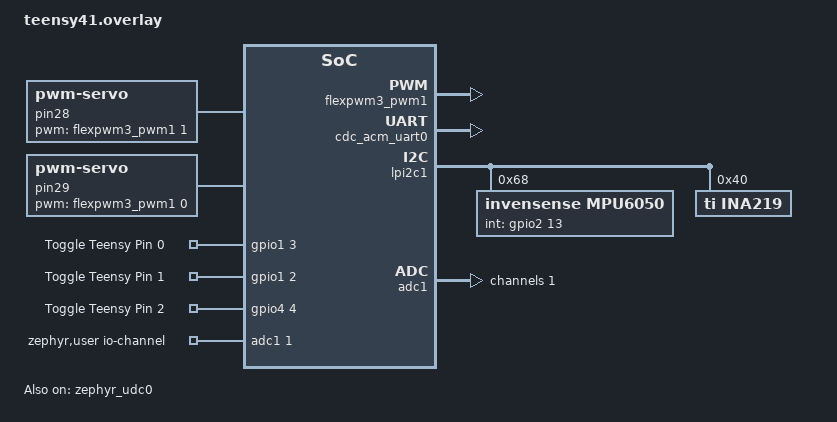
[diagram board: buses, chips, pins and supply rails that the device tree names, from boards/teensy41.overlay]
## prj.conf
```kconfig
CONFIG_PRINTK=y
CONFIG_HEAP_MEM_POOL_SIZE=256
CONFIG_ASSERT=y
CONFIG_GPIO=y

CONFIG_STDOUT_CONSOLE=y
CONFIG_PWM=y
CONFIG_ADC=y

## Sensor configs 
CONFIG_MPU6050=y
CONFIG_I2C=y
CONFIG_SENSOR=y
CONFIG_LOG=y

CONFIG_MPU6050_TRIGGER_NONE=y
CONFIG_CBPRINTF_FP_SUPPORT=y


CONFIG_USB_DEVICE_STACK=y
CONFIG_USB_DEVICE_PRODUCT="Zephyr USB console sample"
CONFIG_USB_DEVICE_PID=0x0004
CONFIG_USB_DEVICE_INITIALIZE_AT_BOOT=n

CONFIG_SERIAL=y
CONFIG_CONSOLE=y
CONFIG_UART_CONSOLE=y
CONFIG_NEWLIB_LIBC=y

#CONFIG_USB_DRIVER_LOG_LEVEL_ERR=y 
```

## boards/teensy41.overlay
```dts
/ {
	pin28: pin28 {
		compatible = "pwm-servo";
		pwms = <&flexpwm3_pwm1 1 PWM_KHZ(20) PWM_POLARITY_NORMAL>;  
		min-pulse = <PWM_NSEC(0)>; /* Does not actually affect physical min/max. Max is set by the period in the pwms phandle. These are just inits for min/max vars */
		max-pulse = <PWM_KHZ(20)>;
	};

	pin29: pin29 { 
		compatible = "pwm-servo";
		pwms = <&flexpwm3_pwm1 0 PWM_KHZ(20) PWM_POLARITY_NORMAL>;  
		min-pulse = <PWM_NSEC(0)>;
		max-pulse = <PWM_KHZ(20)>;
	};

	aliases {
		tp = &toggle_pos;
		tc = &toggle_current;
		to = &toggle_other;
	};
	
	app-gpios {	
		compatible = "gpio-keys";
		toggle_pos: toggle_pos {
			gpios = <&gpio1 3 GPIO_ACTIVE_HIGH>;
        	label = "Toggle Teensy Pin 0";
		};
		toggle_current: toggle_current {
			gpios = <&gpio1 2 GPIO_ACTIVE_HIGH>;
        	label = "Toggle Teensy Pin 1";
		};
		toggle_other: toggle_other {
			gpios = <&gpio4 4 GPIO_ACTIVE_HIGH>;
        	label = "Toggle Teensy Pin 2";
		};
	};

	zephyr,user {
		/* adjust channel number according to pinmux in board.dts */
		io-channels = <&adc1 1>;
	};

    chosen {
	zephyr,console = &cdc_acm_uart0;
    };

};


&pinctrl{

        pinmux_flexpwm3: pinmux_flexpwm3 {
                group0 {
                        pinmux = <&iomuxc_gpio_emc_32_flexpwm3_pwmb1>, <&iomuxc_gpio_emc_31_flexpwm3_pwma1>;
                        drive-strength = "r0-4";
                        bias-pull-up;
                        bias-pull-up-value = "47k";
                        slew-rate = "slow";
                        nxp,speed = "100-mhz";
                };
        };

		pinmux_adc1: pinmux_adc1 {
                group0 {
                        pinmux = <&iomuxc_gpio_ad_b0_12_adc1_in1 >;
                        drive-strength = "r0-4";
                        bias-pull-up;
                        bias-pull-up-value = "47k";
                        slew-rate = "slow";
                        nxp,speed = "100-mhz";
                };
        };


};


&flexpwm3_pwm1 {
        status = "okay";
        pinctrl-0 = <&pinmux_flexpwm3>;
        pinctrl-names = "default";
};



&zephyr_udc0 {
	compatible = "nxp,mcux-usbd";
	status = "okay";
	cdc_acm_uart0: cdc_acm_uart0{
		compatible = "zephyr,cdc-acm-uart";
	};
};


&lpi2c1 {
	status = "okay";
	mpu6050@68 {
		compatible = "invensense,mpu6050";
		reg = <0x68>;
		status = "okay";
		int-gpios = <&gpio2 13 GPIO_ACTIVE_HIGH>;
	};

	ina219@40 {
		status = "okay";
		compatible = "ti,ina219";
		reg = <0x40>;
		brng = <1>;
		pg = <3>;
		sadc = <3>;
		badc = <3>;
		shunt-milliohm = <100>;
		lsb-microamp = <100>;
	};
};

&adc1 {
	#address-cells = <1>;
	#size-cells = <0>;
	status = "okay";
	pinctrl-0 = <&pinmux_adc1>;
	pinctrl-names = "default";
	channel@1 {
		reg = <1>;
		zephyr,gain = "ADC_GAIN_1";
		zephyr,reference = "ADC_REF_INTERNAL";
		zephyr,acquisition-time = <0>;
		zephyr,resolution = <12>;
	};
};
```

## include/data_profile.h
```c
#ifndef DATA_PROF_
#define DATA_PROF_

#define DATA_SAMPLES 3998

#define DATA_SAMPLES_REAL_7 1600
#define DATA_SAMPLES_REAL_9 1500
#define DATA_SAMPLES_REAL_11 1300
#define DATA_SAMPLES_REAL_13 1200

#define DATA_SAMPLES_REAL_cropped_7 115
#define DATA_SAMPLES_REAL_cropped_9 114
#define DATA_SAMPLES_REAL_cropped_11 102
#define DATA_SAMPLES_REAL_cropped_13 100

#define DATA_SAMPLES_REAL_adjusted_7 432
#define DATA_SAMPLES_REAL_adjusted_9 446
#define DATA_SAMPLES_REAL_adjusted_11 529
#define DATA_SAMPLES_REAL_adjusted_13 599

#define DATA_SAMPLES_10  630
#define DATA_SAMPLES_15  420
#define DATA_SAMPLES_20  316
#define DATA_SAMPLES_25  253
#define DATA_SAMPLES_30  211
#define DATA_SAMPLES_35  181
#define DATA_SAMPLES_40  159
#define DATA_SAMPLES_45  141
#define DATA_SAMPLES_50  127
#define DATA_SAMPLES_55  116
#define DATA_SAMPLES_60  106
#define DATA_SAMPLES_65  98
#define DATA_SAMPLES_70  91
#define DATA_SAMPLES_75  85
#define DATA_SAMPLES_80  80
#define DATA_SAMPLES_85  75

extern float Angle_Profile_REAL_7[],Angle_Profile_REAL_9[],Angle_Profile_REAL_11[],Angle_Profile_REAL_13[];
extern float Angle_Profile_REAL_cropped_7[],Angle_Profile_REAL_cropped_9[],Angle_Profile_REAL_cropped_11[],Angle_Profile_REAL_cropped_13[];
extern float Angle_Profile_REAL_adjusted_7[],Angle_Profile_REAL_adjusted_9[],Angle_Profile_REAL_adjusted_11[],Angle_Profile_REAL_adjusted_13[];

extern const float* angle_profiles[];
extern const float* angle_profiles_REAL[];
extern const float* angle_profiles_REAL_cropped[];
extern const float* angle_profiles_REAL_adjusted[];
extern const float* accel_profiles[];
extern const float* accel_profiles_REAL[];
extern const float* accel_profiles_REAL_cropped[];
extern const float* accel_profiles_REAL_adjusted[];
extern const int profile_lengths[],profile_lengths_REAL[],profile_lengths_REAL_cropped[],profile_lengths_REAL_adjusted[];

extern float Torque_Profile_05[DATA_SAMPLES], Torque_Profile_08[DATA_SAMPLES], Torque_Profile_10[DATA_SAMPLES],Torque_Profile_12[DATA_SAMPLES],Torque_Profile_SIN[DATA_SAMPLES];
extern float Accel_Profile_05[DATA_SAMPLES-2], Accel_Profile_08[DATA_SAMPLES-2], Accel_Profile_10[DATA_SAMPLES-2], Accel_Profile_12[DATA_SAMPLES-2], Accel_Profile_SIN[DATA_SAMPLES-2], Accel_Profile_STEP[DATA_SAMPLES-2];
extern float Angle_Profile_SIN[DATA_SAMPLES], Angle_Profile_STEP[DATA_SAMPLES];

extern float Angle_Profile_SIN_10_2_[DATA_SAMPLES_10];
extern float Accel_Profile_SIN_10_2_[DATA_SAMPLES_10-2];
extern float Angle_Profile_SIN_15_2_[DATA_SAMPLES_15];
extern float Accel_Profile_SIN_15_2_[DATA_SAMPLES_15-2];
extern float Angle_Profile_SIN_20_2_[DATA_SAMPLES_20];
extern float Accel_Profile_SIN_20_2_[DATA_SAMPLES_20-2];
extern float Angle_Profile_SIN_25_2_[DATA_SAMPLES_25];
extern float Accel_Profile_SIN_25_2_[DATA_SAMPLES_25-2];
extern float Angle_Profile_SIN_30_2_[DATA_SAMPLES_30];
extern float Accel_Profile_SIN_30_2_[DATA_SAMPLES_30-2];
extern float Angle_Profile_SIN_35_2_[DATA_SAMPLES_35];
extern float Accel_Profile_SIN_35_2_[DATA_SAMPLES_35-2];
extern float Angle_Profile_SIN_40_2_[DATA_SAMPLES_40];
extern float Accel_Profile_SIN_40_2_[DATA_SAMPLES_40-2];
extern float Angle_Profile_SIN_45_2_[DATA_SAMPLES_45];
extern float Accel_Profile_SIN_45_2_[DATA_SAMPLES_45-2];
extern float Angle_Profile_SIN_50_2_[DATA_SAMPLES_50];
extern float Accel_Profile_SIN_50_2_[DATA_SAMPLES_50-2];
extern float Angle_Profile_SIN_55_2_[DATA_SAMPLES_55];
extern float Accel_Profile_SIN_55_2_[DATA_SAMPLES_55-2];
extern float Angle_Profile_SIN_60_2_[DATA_SAMPLES_60];
extern float Accel_Profile_SIN_60_2_[DATA_SAMPLES_60-2];
extern float Angle_Profile_SIN_65_2_[DATA_SAMPLES_65];
extern float Accel_Profile_SIN_65_2_[DATA_SAMPLES_65-2];
extern float Angle_Profile_SIN_70_2_[DATA_SAMPLES_70];
extern float Accel_Profile_SIN_70_2_[DATA_SAMPLES_70-2];
extern float Angle_Profile_SIN_75_2_[DATA_SAMPLES_75];
extern float Accel_Profile_SIN_75_2_[DATA_SAMPLES_75-2];
extern float Angle_Profile_SIN_80_2_[DATA_SAMPLES_80];
extern float Accel_Profile_SIN_80_2_[DATA_SAMPLES_80-2];
extern float Angle_Profile_SIN_85_2_[DATA_SAMPLES_85];
extern float Accel_Profile_SIN_85_2_[DATA_SAMPLES_85-2];


#endif // DATA_PROF_
```

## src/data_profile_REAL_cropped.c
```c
#include "data_profile.h"

float Angle_Profile_REAL_cropped_7[DATA_SAMPLES_REAL_cropped_7] = 
{
    0.00131,
    0.01648,
    0.02957,
    0.04016,
    0.04865,
    0.05500,
    0.05961,
    0.06296,
    0.06609,
    0.06919,
    0.07258,
    0.07625,
    0.08066,
    0.08587,
    0.09213,
    0.09909,
    0.10683,
    0.11509,
    0.12379,
    0.13273,
    0.14186,
    0.15099,
    0.16023,
    0.16943,
    0.17881,
    0.18823,
    0.19756,
    0.20642,
    0.21458,
    0.22172,
    0.22782,
    0.23275,
    0.23664,
    0.23966,
    0.24203,
    0.24402,
    0.24578,
    0.24732,
    0.24861,
    0.24973,
    0.25090,
    0.25229,
    0.25292,
    0.25321,
    0.25264,
    0.25092,
    0.24819,
    0.24438,
    0.23938,
    0.23281,
    0.22468,
    0.21524,
    0.20493,
    0.19421,
    0.18382,
    0.17386,
    0.16453,
    0.15560,
    0.14696,
    0.13813,
    0.12906,
    0.11971,
    0.11040,
    0.10094,
    0.09128,
    0.08133,
    0.07097,
    0.06046,
    0.04999,
    0.03944,
    0.02919,
    0.01907,
    0.00877,
    0.00218,
    0.01374,
    0.02591,
    0.03857,
    0.05179,
    0.06531,
    0.07907,
    0.09273,
    0.10618,
    0.11930,
    0.13198,
    0.14380,
    0.15449,
    0.16381,
    0.17182,
    0.17860,
    0.18396,
    0.18794,
    0.19083,
    0.19271,
    0.19384,
    0.19422,
    0.19372,
    0.19242,
    0.19008,
    0.18582,
    0.17892,
    0.16960,
    0.15873,
    0.14725,
    0.13539,
    0.12354,
    0.11166,
    0.10011,
    0.08860,
    0.07706,
    0.06540,
    0.05341,
    0.04064,
    0.02720,
    0.01347,
    0.00013,
};
float Angle_Profile_REAL_cropped_9[DATA_SAMPLES_REAL_cropped_9] = 
{
    0.00631,
    0.01957,
    0.03020,
    0.03876,
    0.04567,
    0.05123,
    0.05584,
    0.05986,
    0.06355,
    0.06706,
    0.07026,
    0.07312,
    0.07557,
    0.07765,
    0.07931,
    0.08090,
    0.08244,
    0.08431,
    0.08646,
    0.08935,
    0.09271,
    0.09648,
    0.10077,
    0.10618,
    0.11303,
    0.12128,
    0.13108,
    0.14225,
    0.15450,
    0.16733,
    0.18033,
    0.19328,
    0.20586,
    0.21792,
    0.22902,
    0.23945,
    0.24973,
    0.26004,
    0.27049,
    0.28064,
    0.29050,
    0.30018,
    0.30964,
    0.31850,
    0.32648,
    0.33354,
    0.33968,
    0.34498,
    0.34925,
    0.35223,
    0.35367,
    0.35276,
    0.34940,
    0.34348,
    0.33522,
    0.32446,
    0.31151,
    0.29639,
    0.27971,
    0.26169,
    0.24254,
    0.22260,
    0.20228,
    0.18186,
    0.16191,
    0.14248,
    0.12411,
    0.10643,
    0.08946,
    0.07258,
    0.05554,
    0.03783,
    0.01976,
    0.00154,
    0.01619,
    0.03372,
    0.05113,
    0.06822,
    0.08449,
    0.09995,
    0.11410,
    0.12720,
    0.13909,
    0.15009,
    0.16040,
    0.17042,
    0.18039,
    0.19070,
    0.20087,
    0.21062,
    0.21952,
    0.22743,
    0.23389,
    0.23870,
    0.24231,
    0.24522,
    0.24743,
    0.24860,
    0.24861,
    0.24750,
    0.24567,
    0.24286,
    0.23801,
    0.22990,
    0.21758,
    0.20051,
    0.17902,
    0.15379,
    0.12611,
    0.09709,
    0.06818,
    0.04090,
    0.01678,
    0.00349,
};
float Angle_Profile_REAL_cropped_11[DATA_SAMPLES_REAL_cropped_11] = 
{
    0.00405,
    0.02544,
    0.04701,
    0.06854,
    0.09050,
    0.11209,
    0.13362,
    0.15461,
    0.17545,
    0.19602,
    0.21680,
    0.23738,
    0.25772,
    0.27739,
    0.29659,
    0.31533,
    0.33391,
    0.35228,
    0.37054,
    0.38883,
    0.40704,
    0.42502,
    0.44243,
    0.45900,
    0.47436,
    0.48853,
    0.50148,
    0.51349,
    0.52481,
    0.53553,
    0.54545,
    0.55479,
    0.56267,
    0.56875,
    0.57245,
    0.57335,
    0.57006,
    0.56234,
    0.54969,
    0.53201,
    0.50926,
    0.48274,
    0.45335,
    0.42290,
    0.39204,
    0.36229,
    0.33422,
    0.30857,
    0.28445,
    0.26184,
    0.23954,
    0.21735,
    0.19450,
    0.17111,
    0.14646,
    0.12093,
    0.09460,
    0.06830,
    0.04250,
    0.01767,
    0.00659,
    0.02986,
    0.05192,
    0.07239,
    0.09224,
    0.11222,
    0.13316,
    0.15505,
    0.17760,
    0.19978,
    0.22072,
    0.23980,
    0.25704,
    0.27281,
    0.28726,
    0.30092,
    0.31417,
    0.32733,
    0.34003,
    0.35154,
    0.36054,
    0.36571,
    0.36562,
    0.35953,
    0.34704,
    0.32934,
    0.30758,
    0.28380,
    0.25896,
    0.23450,
    0.21077,
    0.18849,
    0.16747,
    0.14793,
    0.12933,
    0.11108,
    0.09327,
    0.07588,
    0.05830,
    0.03980,
    0.02027,
    0.00032,
};
float Angle_Profile_REAL_cropped_13[DATA_SAMPLES_REAL_cropped_13] = 
{
    0.00567,
    0.01650,
    0.04001,
    0.06530,
    0.09178,
    0.11919,
    0.14736,
    0.17677,
    0.20674,
    0.23696,
    0.26669,
    0.29574,
    0.32363,
    0.35036,
    0.37582,
    0.40024,
    0.42373,
    0.44659,
    0.46843,
    0.48916,
    0.50843,
    0.52638,
    0.54299,
    0.55879,
    0.57410,
    0.58943,
    0.60470,
    0.61949,
    0.63262,
    0.64353,
    0.65220,
    0.65873,
    0.66403,
    0.66944,
    0.67506,
    0.68084,
    0.68606,
    0.68965,
    0.69060,
    0.68759,
    0.67949,
    0.66430,
    0.64174,
    0.61220,
    0.57743,
    0.53855,
    0.49732,
    0.45490,
    0.41313,
    0.37300,
    0.33538,
    0.29974,
    0.26583,
    0.23252,
    0.19861,
    0.16457,
    0.12998,
    0.09395,
    0.05739,
    0.02103,
    0.01442,
    0.04937,
    0.08286,
    0.11553,
    0.14703,
    0.17723,
    0.20522,
    0.23083,
    0.25472,
    0.27843,
    0.30214,
    0.32539,
    0.34747,
    0.36750,
    0.38389,
    0.39677,
    0.40670,
    0.41407,
    0.41834,
    0.41931,
    0.41723,
    0.41263,
    0.40565,
    0.39627,
    0.38446,
    0.37038,
    0.35397,
    0.33413,
    0.31027,
    0.28200,
    0.25044,
    0.21726,
    0.18401,
    0.15181,
    0.12166,
    0.09325,
    0.06655,
    0.04059,
    0.01548,
    0.00959,
};
```

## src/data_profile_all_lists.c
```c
#include "data_profile.h"

// This file is necessary in case the profiles themselves are changes, these lists would be deleted
const int profile_lengths_REAL_cropped[] = {
    DATA_SAMPLES_REAL_cropped_7,
    DATA_SAMPLES_REAL_cropped_9,
    DATA_SAMPLES_REAL_cropped_11,
    DATA_SAMPLES_REAL_cropped_13
};

// Array of angle and acceleration profiles
const float* angle_profiles_REAL_cropped[] = {
    Angle_Profile_REAL_cropped_7,
    Angle_Profile_REAL_cropped_9,
    Angle_Profile_REAL_cropped_11,
    Angle_Profile_REAL_cropped_13
};

const float* accel_profiles_REAL_cropped[] = {
    Angle_Profile_REAL_cropped_7,
    Angle_Profile_REAL_cropped_9,
    Angle_Profile_REAL_cropped_11,
    Angle_Profile_REAL_cropped_13

};
const int profile_lengths_REAL_adjusted[] = {
    DATA_SAMPLES_REAL_adjusted_7,
    DATA_SAMPLES_REAL_adjusted_9,
    DATA_SAMPLES_REAL_adjusted_11,
    DATA_SAMPLES_REAL_adjusted_13
};

// Array of angle and acceleration profiles
const float* angle_profiles_REAL_adjusted[] = {
    Angle_Profile_REAL_adjusted_7,
    Angle_Profile_REAL_adjusted_9,
    Angle_Profile_REAL_adjusted_11,
    Angle_Profile_REAL_adjusted_13
};

const float* accel_profiles_REAL_adjusted[] = {
    Angle_Profile_REAL_adjusted_7,
    Angle_Profile_REAL_adjusted_9,
    Angle_Profile_REAL_adjusted_11,
    Angle_Profile_REAL_adjusted_13

};

const int profile_lengths_REAL[] = {
    DATA_SAMPLES_REAL_7,
    DATA_SAMPLES_REAL_9,
    DATA_SAMPLES_REAL_11,
    DATA_SAMPLES_REAL_13
};

// Array of angle and acceleration profiles
const float* angle_profiles_REAL[] = {
    Angle_Profile_REAL_7,
    Angle_Profile_REAL_9,
    Angle_Profile_REAL_11,
    Angle_Profile_REAL_13
};

const float* accel_profiles_REAL[] = {
    Angle_Profile_REAL_7,
    Angle_Profile_REAL_9,
    Angle_Profile_REAL_11,
    Angle_Profile_REAL_13

};

const int profile_lengths[] = {
DATA_SAMPLES_85,
DATA_SAMPLES_80,
DATA_SAMPLES_75,
DATA_SAMPLES_70,
DATA_SAMPLES_65,
DATA_SAMPLES_60,
DATA_SAMPLES_55,
DATA_SAMPLES_50,
DATA_SAMPLES_45,
DATA_SAMPLES_40,
DATA_SAMPLES_35,
DATA_SAMPLES_30,
DATA_SAMPLES_25,
DATA_SAMPLES_20,
DATA_SAMPLES_15,
DATA_SAMPLES_10 
};

// Array of angle and acceleration profiles
const float* angle_profiles[] = {
    Angle_Profile_SIN_85_2_,
    Angle_Profile_SIN_80_2_,
    Angle_Profile_SIN_75_2_,
    Angle_Profile_SIN_70_2_,
    Angle_Profile_SIN_65_2_,
    Angle_Profile_SIN_60_2_,
    Angle_Profile_SIN_55_2_,
    Angle_Profile_SIN_50_2_,
    Angle_Profile_SIN_45_2_,
    Angle_Profile_SIN_40_2_,
    Angle_Profile_SIN_35_2_,
    Angle_Profile_SIN_30_2_,
    Angle_Profile_SIN_25_2_,
    Angle_Profile_SIN_20_2_,
    Angle_Profile_SIN_15_2_,
    Angle_Profile_SIN_10_2_
};

const float* accel_profiles[] = {
    Accel_Profile_SIN_85_2_,
    Accel_Profile_SIN_80_2_,
    Accel_Profile_SIN_75_2_,
    Accel_Profile_SIN_70_2_,
    Accel_Profile_SIN_65_2_,
    Accel_Profile_SIN_60_2_,
    Accel_Profile_SIN_55_2_,
    Accel_Profile_SIN_50_2_,
    Accel_Profile_SIN_45_2_,
    Accel_Profile_SIN_40_2_,
    Accel_Profile_SIN_35_2_,
    Accel_Profile_SIN_30_2_,
    Accel_Profile_SIN_25_2_,
    Accel_Profile_SIN_20_2_,
    Accel_Profile_SIN_15_2_,
    Accel_Profile_SIN_10_2_
};
```

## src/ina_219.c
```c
#include "ina_219.h"

// functions to interface with ina_219

int process_ina219(const struct device *dev, struct ina_219_data *ina_sensor_data)
{
    int rc = sensor_sample_fetch(dev);
    if (rc) {
        printf("\nCould not fetch sensor data.\n");
        return rc;
    }

    extern struct k_mutex ina_sensor_mutex; 

    k_mutex_lock(&ina_sensor_mutex, K_FOREVER);

    sensor_channel_get(dev, SENSOR_CHAN_CURRENT, &ina_sensor_data->current);

    k_mutex_unlock(&ina_sensor_mutex);

    return rc;
}
```

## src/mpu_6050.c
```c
#include "mpu_6050.h"

// functions to interface with mpu_6050

const char *now_str(void)
{
	static char buf[16]; /* ...HH:MM:SS.MMM */
	uint32_t now = k_uptime_get_32();
	unsigned int ms = now % MSEC_PER_SEC;
	unsigned int s;
	unsigned int min;
	unsigned int h;

	now /= MSEC_PER_SEC;
	s = now % 60U;
	now /= 60U;
	min = now % 60U;
	now /= 60U;
	h = now;

	snprintf(buf, sizeof(buf), "%u:%02u:%02u.%03u",
		 h, min, s, ms);
	return buf;
}

int process_mpu6050(const struct device *dev, struct mpu_6050_data *mpu_sensor_data)
{

	int rc = sensor_sample_fetch(dev);

    extern struct k_mutex mpu_sensor_mutex; 

    k_mutex_lock(&mpu_sensor_mutex, K_FOREVER);


    if (rc == 0) {
		rc = sensor_channel_get(dev, SENSOR_CHAN_ACCEL_XYZ,
					mpu_sensor_data->accelerometer);
	}
	if (rc == 0) {
		rc = sensor_channel_get(dev, SENSOR_CHAN_GYRO_XYZ,
					mpu_sensor_data->gyro);
	}

    k_mutex_unlock(&mpu_sensor_mutex);


	if (rc == 0) {
	} else {
		printk("sample fetch/get failed: %d\n", rc);
	}

	 

	return rc;
}
```
